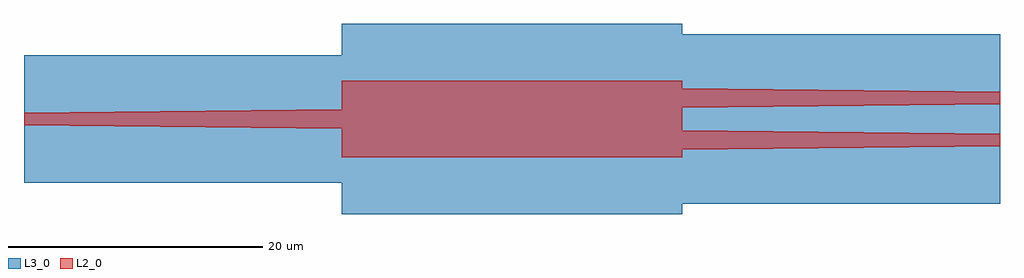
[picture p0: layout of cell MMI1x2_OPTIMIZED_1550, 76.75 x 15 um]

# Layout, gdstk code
import gdstk
lib = gdstk.Library(unit=1e-6, precision=1e-09)
def R(c, l, rs):  # rectangles x0, y0, x1, y1
    for r in rs: c.add(gdstk.rectangle(r[:2], r[2:], *l))
def P(c, l, *ps):  # polygons
    for p in ps: c.add(gdstk.Polygon(p, *l))
L2_0 = (2, 0)
L3_0 = (3, 0)

mmi1x2_optimized_1550 = lib.new_cell('MMI1x2_OPTIMIZED_1550')
R(mmi1x2_optimized_1550, L2_0, [(0,-3,26.75,3)])
P(mmi1x2_optimized_1550, L2_0, [(-25,-0.5),(-25,0.5),(0,0.75),(0,-0.75)],
  [(26.75,0.9),(26.75,2.4),(51.75,2.15),(51.75,1.15)],
  [(26.75,-2.4),(26.75,-0.9),(51.75,-1.15),(51.75,-2.15)])
R(mmi1x2_optimized_1550, L3_0, [(0,-7.5,26.75,7.5), (26.75,-6.65,51.75,6.65), (-25,-5,0,5)])

lib.write_gds('MMI1x2_OPTIMIZED_1550.gds')
